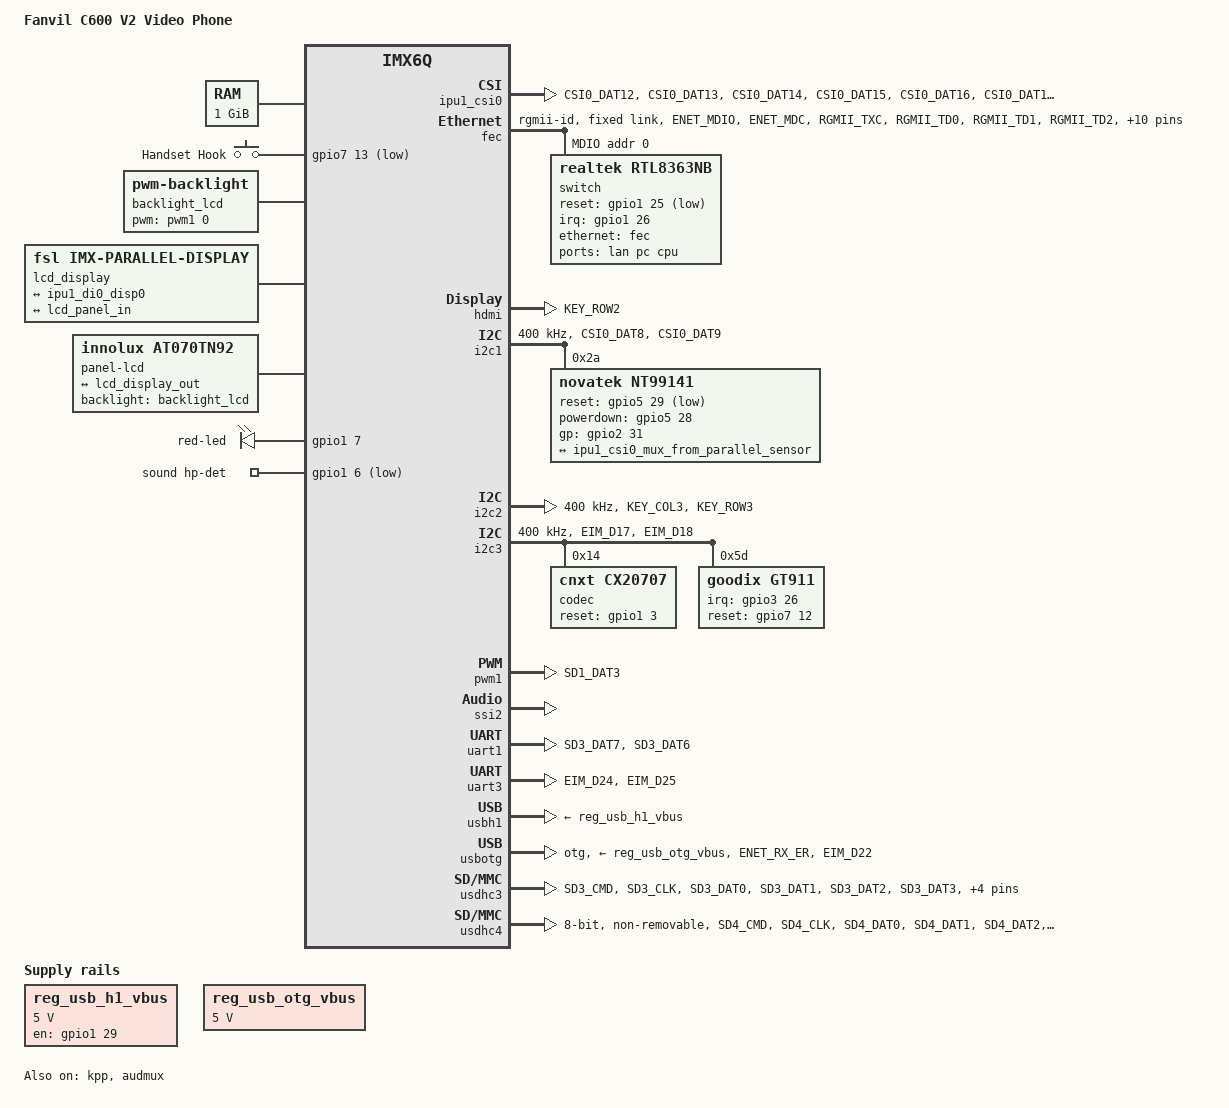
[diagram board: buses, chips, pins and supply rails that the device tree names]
// SPDX-License-Identifier: GPL-2.0+
// Copyright Aleksandrov Stanislav <lightofmysoul@gmail.com>

/dts-v1/;
#include <dt-bindings/gpio/gpio.h>
#include <dt-bindings/sound/fsl-imx-audmux.h>
#include "imx6q.dtsi"

/ {
	model = "Fanvil C600 V2 Video Phone";
	compatible = "fanvil,imx6q-fanvil-c600", "fsl,imx6q";

	chosen {
		stdout-path = &uart1;
	};

	memory@10000000 {
		device_type = "memory";
		reg = <0x10000000 0x40000000>;
	};

	reg_usb_h1_vbus: regulator-usb-h1-vbus {
		compatible = "regulator-fixed";
		pinctrl-names = "default";
		pinctrl-0 = <&pinctrl_usbh1>;
		regulator-name = "usb_h1_vbus";
		regulator-min-microvolt = <5000000>;
		regulator-max-microvolt = <5000000>;
		gpio = <&gpio1 29 GPIO_ACTIVE_HIGH>;
		enable-active-high;
	};

	reg_usb_otg_vbus: regulator-usb-otg-vbus {
		compatible = "regulator-fixed";
		regulator-name = "usb_otg_vbus";
		regulator-min-microvolt = <5000000>;
		regulator-max-microvolt = <5000000>;
		/* I am not sure about this gpio. Need to test this somehow.. */
		// gpio = <&gpio3 22 GPIO_ACTIVE_HIGH>;
		// enable-active-high;
		regulator-always-on;
	};

	gpio-keys {
		compatible = "gpio-keys";
		pinctrl-names = "default";
		pinctrl-0 = <&pinctrl_gpio_keys>;

		handset-hook {
			label = "Handset Hook";
			gpios = <&gpio7 13 GPIO_ACTIVE_LOW>;
			linux,code = <KEY_CLOSE>;
		};
	};

	backlight_lcd: backlight-lcd {
		compatible = "pwm-backlight";
		pwms = <&pwm1 0 5000000>;
		brightness-levels = <0 4 8 16 32 64 128 255>;
		default-brightness-level = <7>;
		status = "okay";
	};

	lcd_display: disp0 {
		compatible = "fsl,imx-parallel-display";
		#address-cells = <1>;
		#size-cells = <0>;
		interface-pix-fmt = "rgb24";
		pinctrl-names = "default";
		pinctrl-0 = <&pinctrl_j15>;
		status = "okay";

		port@0 {
			reg = <0>;

			lcd_display_in: endpoint {
				remote-endpoint = <&ipu1_di0_disp0>;
			};
		};

		port@1 {
			reg = <1>;

			lcd_display_out: endpoint {
				remote-endpoint = <&lcd_panel_in>;
			};
		};
	};

	panel-lcd {
		compatible = "innolux,at070tn92";
		backlight = <&backlight_lcd>;

		port {
			lcd_panel_in: endpoint {
				remote-endpoint = <&lcd_display_out>;
			};
		};
	};

        leds {
                compatible = "gpio-leds";
                pinctrl-names = "default";
                pinctrl-0 = <&pinctrl_gpio_leds>;

                red-led {
			gpios = <&gpio1 7 GPIO_ACTIVE_HIGH>;
			default-state = "off";
		};
	};

	sound {
		compatible = "simple-audio-card";
		simple-audio-card,name = "cx20707";
		simple-audio-card,widgets =
			"Headphone", "Headphones",
			"Speaker", "Speakers",
			"Line",	"Line Out Jack",
			"Microphone", "Mic";

		simple-audio-card,routing =
			"Headphones", "HPOUTL",
			"Headphones", "HPOUTR",
			"Line Out Jack", "LINEOUTL",
			"Line Out Jack", "LINEOUTR",
			"Speakers", "SPKOUTL",
			"Speakers", "SPKOUTR",
			"MICIN", "Mic";

		/* This requires custom firmware */
		simple-audio-card,hp-det-gpio =
			<&gpio1 6 GPIO_ACTIVE_LOW>;

		simple-audio-card,dai-link@0 {
                        bitclock-master = <&dailink0_master>;
                        frame-master = <&dailink0_master>;
                        format = "i2s";

			cpu {
				sound-dai = <&ssi2 0>;
			};
			dailink0_master: codec {
				sound-dai = <&codec 0>;
			};
		};
	};
};

&kpp {
	pinctrl-names = "default";
	pinctrl-0 = <&pinctrl_kpp>;
	linux,keymap = <
		MATRIX_KEY(0, 0, KEY_HOME) /* Home */
		MATRIX_KEY(4, 0, KEY_BACK) /* Back */
		MATRIX_KEY(1, 0, KEY_SOUND)/* Volume */
		MATRIX_KEY(0, 4, KEY_MENU) /* Menu */
		MATRIX_KEY(1, 4, KEY_HP)   /* Headset */
	>;
	status = "okay";
};

&ipu1_csi0_from_ipu1_csi0_mux {
	bus-width = <8>;
	data-shift = <12>; /* Lines 19:12 used */
	hsync-active = <1>;
	vync-active = <1>;
};

&ipu1_csi0_mux_from_parallel_sensor {
	remote-endpoint = <&nt99141_to_ipu1_csi0_mux>;
};

&ipu1_csi0 {
	pinctrl-names = "default";
	pinctrl-0 = <&pinctrl_ipu1_csi0>;
};

&audmux {
	pinctrl-names = "default";
	pinctrl-0 = <&pinctrl_audmux>;
	status = "okay";

	audmux_ssi2 {
		fsl,audmux-port = <MX51_AUDMUX_PORT2_SSI1>;
		fsl,port-config = <
			(IMX_AUDMUX_V2_PTCR_SYN|
			IMX_AUDMUX_V2_PTCR_TFSDIR|
			IMX_AUDMUX_V2_PTCR_TFSEL(2)|
			IMX_AUDMUX_V2_PTCR_TCLKDIR|
			IMX_AUDMUX_V2_PTCR_TCSEL(2))
			IMX_AUDMUX_V2_PDCR_RXDSEL(2)
		>;
        };
	audmux_ssi3 {
		fsl,audmux-port = <MX51_AUDMUX_PORT3>;
		fsl,port-config = <
			IMX_AUDMUX_V2_PTCR_SYN
			IMX_AUDMUX_V2_PDCR_RXDSEL(1)
		>;
	};
};

&fec {
	pinctrl-names = "default";
	pinctrl-0 = <&pinctrl_enet>;
	phy-mode = "rgmii-id";
	status = "okay";

	fixed-link {
		speed = <1000>;
		full-duplex;
	};

	mdio {
		#address-cells = <1>;
		#size-cells = <0>;

                switch@0 {
                        compatible = "realtek,rtl8363nb";
                        #address-cells = <1>;
                        #size-cells = <0>;
			pinctrl-names = "default";
                        pinctrl-0 = <&pinctrl_etnphy_int>;
			reset-gpios = <&gpio1 25 GPIO_ACTIVE_LOW>;
                        interrupt-parent = <&gpio1>;
                        interrupts = <26 GPIO_ACTIVE_HIGH>;
			interrupt-controller;
			reg = <0>;

			ports {
				#address-cells = <1>;
				#size-cells = <0>;

				port@1 {
					reg = <1>;
					label = "lan";
				};

				port@3 {
					reg = <3>;
					label = "pc";
				};

				port@6 {
					reg = <6>;
                                        label = "cpu";
					ethernet = <&fec>;
				};
			};
		};
	};
};

&hdmi {
	pinctrl-names = "default";
	pinctrl-0 = <&pinctrl_hdmicec>;
	ddc-i2c-bus = <&i2c2>;
	status = "okay";
};

&i2c1 {
	clock-frequency = <400000>;
	pinctrl-names = "default";
	pinctrl-0 = <&pinctrl_i2c1>;
	status = "okay";

	nt99141: camera@2a {
		compatible = "novatek,nt99141";
		reg = <0x2a>;
		pinctrl-names = "default";
		pinctrl-0 = <&pinctrl_nt99141>;

		clocks = <&clks IMX6QDL_CLK_CKO1>;
		clock-names = "mclk";
		assigned-clocks = <&clks IMX6QDL_CLK_CKO>,
				  <&clks IMX6QDL_CLK_CKO1_SEL>;
		assigned-clock-parents = <&clks IMX6QDL_CLK_CKO1>,
					 <&clks IMX6QDL_CLK_VIDEO_27M>;

		reset-gpios = <&gpio5 29 GPIO_ACTIVE_LOW>;
		powerdown-gpios = <&gpio5 28 GPIO_ACTIVE_HIGH>;
		/* What is the purpose of this gpio? */
		gp-gpios = <&gpio2 31 GPIO_ACTIVE_HIGH>;
		status = "okay";

		port {
			nt99141_to_ipu1_csi0_mux: endpoint {
				remote-endpoint = <&ipu1_csi0_mux_from_parallel_sensor>;
				bus-width = <8>;
				hsync-active = <1>;
				vsync-active = <1>;
			};
		};
	};
};

&i2c2 {
	clock-frequency = <400000>;
	pinctrl-names = "default";
	pinctrl-0 = <&pinctrl_i2c2>;
	status = "okay";
};

&i2c3 {
	clock-frequency = <400000>;
	pinctrl-names = "default";
	pinctrl-0 = <&pinctrl_i2c3>;
	status = "okay";

	codec: cnxt@14 {
		compatible = "cnxt,cx20707";
		reg = <0x14>;
		#sound-dai-cells = <0>;
		pinctrl-names = "default";
		pinctrl-0 = <&pinctrl_cx20707>;

		/* Is there any clocks at all ? */
		//clocks = <&clks IMX6QDL_CLK_CKO2>;
		reset-gpios = <&gpio1 3 GPIO_ACTIVE_HIGH>;

		/* It is not clear why this gpio is used as interrupt
		 * Maybe custom firmware will notify us about something?
		 *
		 * interrupt-parent = <&gpio3>;
		 * interrupts = <9 GPIO_ACTIVE_LOW>;
		 * irq-gpios = <&gpio3 9 GPIO_ACTIVE_LOW>;
		 */
		status = "okay";
	};

	gt911: touchscreen@5d {
		compatible = "goodix,gt911";
		reg = <0x5d>;

		pinctrl-names = "default";
		pinctrl-0 = <&pinctrl_gt911>;

		interrupt-parent = <&gpio3>;
		interrupts = <26 GPIO_ACTIVE_HIGH>;
		irq-gpios = <&gpio3 26 GPIO_ACTIVE_HIGH>;
		reset-gpios = <&gpio7 12 GPIO_ACTIVE_HIGH>;

		status = "okay";
	};
};

&iomuxc {
	pinctrl-names = "default";
	pinctrl-0 = <&pinctrl_hog>;

	pinctrl_hog: hoggrp {
		fsl,pins = <
			/* Discovered original mappings */
			MX6QDL_PAD_EIM_A24__GPIO5_IO04 0x0b0b1

			MX6QDL_PAD_EIM_A22__GPIO2_IO16 0x0b0b1
			MX6QDL_PAD_EIM_A21__GPIO2_IO17 0x0b0b1
			MX6QDL_PAD_EIM_A20__GPIO2_IO18 0x0b0b1
			MX6QDL_PAD_EIM_A19__GPIO2_IO19 0x0b0b1
			MX6QDL_PAD_EIM_A18__GPIO2_IO20 0x0b0b1
			MX6QDL_PAD_EIM_A17__GPIO2_IO21 0x0b0b1
			MX6QDL_PAD_EIM_A16__GPIO2_IO22 0x0b0b1

			MX6QDL_PAD_EIM_RW__GPIO2_IO26 0x0b0b1
			MX6QDL_PAD_EIM_LBA__GPIO2_IO27 0x0b0b1
			MX6QDL_PAD_EIM_EB0__GPIO2_IO28 0x0b0b1
			MX6QDL_PAD_EIM_EB1__GPIO2_IO29 0x0b0b1

			MX6QDL_PAD_EIM_DA0__GPIO3_IO00 0x0b0b1
			MX6QDL_PAD_EIM_DA1__GPIO3_IO01 0x0b0b1
			MX6QDL_PAD_EIM_DA2__GPIO3_IO02 0x0b0b1
			MX6QDL_PAD_EIM_DA3__GPIO3_IO03 0x0b0b1
			MX6QDL_PAD_EIM_DA4__GPIO3_IO04 0x0b0b1
			MX6QDL_PAD_EIM_DA5__GPIO3_IO05 0x0b0b1
			MX6QDL_PAD_EIM_DA6__GPIO3_IO06 0x0b0b1
			MX6QDL_PAD_EIM_DA7__GPIO3_IO07 0x0b0b1
			MX6QDL_PAD_EIM_DA8__GPIO3_IO08 0x0b0b1

			MX6QDL_PAD_EIM_DA10__GPIO3_IO10 0x0b0b1
			MX6QDL_PAD_EIM_DA11__GPIO3_IO11 0x0b0b1
			MX6QDL_PAD_EIM_DA12__GPIO3_IO12 0x0b0b1
			MX6QDL_PAD_EIM_DA13__GPIO3_IO13 0x0b0b1
			MX6QDL_PAD_EIM_DA14__GPIO3_IO14 0x0b0b1
			MX6QDL_PAD_EIM_DA15__GPIO3_IO15 0x0b0b1

			MX6QDL_PAD_EIM_WAIT__GPIO5_IO00 0x10
		>;
	};

	pinctrl_hdmicec: hdmicecgrp {
		fsl,pins = <
			MX6QDL_PAD_KEY_ROW2__HDMI_TX_CEC_LINE 0x1f8b0
		>;
	};

	pinctrl_audmux: audmuxgrp {
		fsl,pins = <
			MX6QDL_PAD_CSI0_DAT4__AUD3_TXC	0x1b0b0
			MX6QDL_PAD_CSI0_DAT5__AUD3_TXD	0x130b0
			MX6QDL_PAD_CSI0_DAT6__AUD3_TXFS	0x1b0b0
			MX6QDL_PAD_CSI0_DAT7__AUD3_RXD	0x130b0
		>;
	};

	pinctrl_enet: enetgrp {
		fsl,pins = <
			/* MDIO to Realtek Switch */
			MX6QDL_PAD_ENET_MDIO__ENET_MDIO		0x1b0f1
			MX6QDL_PAD_ENET_MDC__ENET_MDC		0x1b0f1

			/* RGMII To Realtek Switch */
			MX6QDL_PAD_RGMII_TXC__RGMII_TXC		0x1b030
			MX6QDL_PAD_RGMII_TD0__RGMII_TD0		0x1b030
			MX6QDL_PAD_RGMII_TD1__RGMII_TD1		0x1b030
			MX6QDL_PAD_RGMII_TD2__RGMII_TD2		0x1b030
			MX6QDL_PAD_RGMII_TD3__RGMII_TD3		0x1b030
			MX6QDL_PAD_RGMII_TX_CTL__RGMII_TX_CTL	0x1b030
			MX6QDL_PAD_ENET_REF_CLK__ENET_TX_CLK	0x1b0f1
			MX6QDL_PAD_RGMII_RXC__RGMII_RXC		0x1b030
			MX6QDL_PAD_RGMII_RD0__RGMII_RD0		0x1b030
			MX6QDL_PAD_RGMII_RD1__RGMII_RD1		0x1b030
			MX6QDL_PAD_RGMII_RD2__RGMII_RD2		0x1b030
			MX6QDL_PAD_RGMII_RD3__RGMII_RD3		0x1b030
			MX6QDL_PAD_RGMII_RX_CTL__RGMII_RX_CTL	0x1b030

			/* 125 MHZ Clock for RGMII */
			MX6QDL_PAD_GPIO_16__ENET_REF_CLK        0x1b0f1
		>;
	};

	pinctrl_etnphy_int: etnphy-intgrp {
		fsl,pins = <
			/* Realtek Switch reset */
			MX6QDL_PAD_ENET_CRS_DV__GPIO1_IO25 0x88

			/* Realtek Switch interrupt */
			MX6QDL_PAD_ENET_RXD1__GPIO1_IO26 0x1b0b0
		>;
	};

	pinctrl_gpio_keys: gpio-keysgrp {
		fsl,pins = <
			/* Phone Hook */
			MX6QDL_PAD_GPIO_18__GPIO7_IO13		0x1b0b0
		>;
	};

	pinctrl_i2c1: i2c1grp {
		fsl,pins = <
			MX6QDL_PAD_CSI0_DAT8__I2C1_SDA          0x4001b8b1
			MX6QDL_PAD_CSI0_DAT9__I2C1_SCL          0x4001b8b1
		>;
	};

	pinctrl_i2c2: i2c2grp {
		fsl,pins = <
			MX6QDL_PAD_KEY_COL3__I2C2_SCL		0x4001b8b1
			MX6QDL_PAD_KEY_ROW3__I2C2_SDA		0x4001b8b1
		>;
	};

	pinctrl_i2c3: i2c3grp {
		fsl,pins = <
			MX6QDL_PAD_EIM_D17__I2C3_SCL		0x4001b8b1
			MX6QDL_PAD_EIM_D18__I2C3_SDA		0x4001b8b1
		>;
	};

	pinctrl_ipu1_csi0: ipu1csi0grp {
		fsl,pins = <
			MX6QDL_PAD_CSI0_DAT12__IPU1_CSI0_DATA12    0x1b0b0
			MX6QDL_PAD_CSI0_DAT13__IPU1_CSI0_DATA13    0x1b0b0
			MX6QDL_PAD_CSI0_DAT14__IPU1_CSI0_DATA14    0x1b0b0
			MX6QDL_PAD_CSI0_DAT15__IPU1_CSI0_DATA15    0x1b0b0
			MX6QDL_PAD_CSI0_DAT16__IPU1_CSI0_DATA16    0x1b0b0
			MX6QDL_PAD_CSI0_DAT17__IPU1_CSI0_DATA17    0x1b0b0
			MX6QDL_PAD_CSI0_DAT18__IPU1_CSI0_DATA18    0x1b0b0
			MX6QDL_PAD_CSI0_DAT19__IPU1_CSI0_DATA19    0x1b0b0
			MX6QDL_PAD_CSI0_PIXCLK__IPU1_CSI0_PIXCLK   0x1b0b0
			MX6QDL_PAD_CSI0_MCLK__IPU1_CSI0_HSYNC      0x1b0b0
			MX6QDL_PAD_CSI0_VSYNC__IPU1_CSI0_VSYNC     0x1b0b0
			MX6QDL_PAD_CSI0_DATA_EN__IPU1_CSI0_DATA_EN 0x1b0b0
		>;
	};

	pinctrl_j15: j15grp {
		fsl,pins = <
			/* Original settings was 0x10, but green dots are displayed */
			MX6QDL_PAD_DI0_DISP_CLK__IPU1_DI0_DISP_CLK 0x100f9
			MX6QDL_PAD_DI0_PIN15__IPU1_DI0_PIN15       0x100f9
			MX6QDL_PAD_DI0_PIN2__IPU1_DI0_PIN02        0x100f9
			MX6QDL_PAD_DI0_PIN3__IPU1_DI0_PIN03        0x100f9
			MX6QDL_PAD_DI0_PIN4__IPU1_DI0_PIN04	   0x1b0b0 //Why? not connected?
			MX6QDL_PAD_DISP0_DAT0__IPU1_DISP0_DATA00   0x100f9
			MX6QDL_PAD_DISP0_DAT1__IPU1_DISP0_DATA01   0x100f9
			MX6QDL_PAD_DISP0_DAT2__IPU1_DISP0_DATA02   0x100f9
			MX6QDL_PAD_DISP0_DAT3__IPU1_DISP0_DATA03   0x100f9
			MX6QDL_PAD_DISP0_DAT4__IPU1_DISP0_DATA04   0x100f9
			MX6QDL_PAD_DISP0_DAT5__IPU1_DISP0_DATA05   0x100f9
			MX6QDL_PAD_DISP0_DAT6__IPU1_DISP0_DATA06   0x100f9
			MX6QDL_PAD_DISP0_DAT7__IPU1_DISP0_DATA07   0x100f9
			MX6QDL_PAD_DISP0_DAT8__IPU1_DISP0_DATA08   0x100f9
			MX6QDL_PAD_DISP0_DAT9__IPU1_DISP0_DATA09   0x100f9
			MX6QDL_PAD_DISP0_DAT10__IPU1_DISP0_DATA10  0x100f9
			MX6QDL_PAD_DISP0_DAT11__IPU1_DISP0_DATA11  0x100f9
			MX6QDL_PAD_DISP0_DAT12__IPU1_DISP0_DATA12  0x100f9
			MX6QDL_PAD_DISP0_DAT13__IPU1_DISP0_DATA13  0x100f9
			MX6QDL_PAD_DISP0_DAT14__IPU1_DISP0_DATA14  0x100f9
			MX6QDL_PAD_DISP0_DAT15__IPU1_DISP0_DATA15  0x100f9
			MX6QDL_PAD_DISP0_DAT16__IPU1_DISP0_DATA16  0x100f9
			MX6QDL_PAD_DISP0_DAT17__IPU1_DISP0_DATA17  0x100f9
			MX6QDL_PAD_DISP0_DAT18__IPU1_DISP0_DATA18  0x100f9
			MX6QDL_PAD_DISP0_DAT19__IPU1_DISP0_DATA19  0x100f9
			MX6QDL_PAD_DISP0_DAT20__IPU1_DISP0_DATA20  0x100f9
			MX6QDL_PAD_DISP0_DAT21__IPU1_DISP0_DATA21  0x100f9
			MX6QDL_PAD_DISP0_DAT22__IPU1_DISP0_DATA22  0x100f9
			MX6QDL_PAD_DISP0_DAT23__IPU1_DISP0_DATA23  0x100f9
		>;
	};

	pinctrl_nt99141: nt99141grp {
		fsl,pins = <
			/* powerdown */
			MX6QDL_PAD_CSI0_DAT10__GPIO5_IO28 0x1b0b0

			/* reset */
			MX6QDL_PAD_CSI0_DAT11__GPIO5_IO29 0x1b0b0

			/* wtfgpio */
			MX6QDL_PAD_EIM_EB3__GPIO2_IO31 0x1b0b0

			/* clock */
			MX6QDL_PAD_GPIO_0__CCM_CLKO1    0x17099
		>;
	};

	pinctrl_pwm1: pwm1grp {
		fsl,pins = <
			MX6QDL_PAD_SD1_DAT3__PWM1_OUT 0x1b0b1
		>;
	};

	pinctrl_uart1: uart1grp {
		fsl,pins = <
			MX6QDL_PAD_SD3_DAT7__UART1_TX_DATA	0x1b0b1
			MX6QDL_PAD_SD3_DAT6__UART1_RX_DATA	0x1b0b1
		>;
	};

	pinctrl_uart3: uart3grp {
		fsl,pins = <
			MX6QDL_PAD_EIM_D24__UART3_TX_DATA	0x1b0b1
			MX6QDL_PAD_EIM_D25__UART3_RX_DATA	0x1b0b1
		>;
	};

	pinctrl_cx20707: cx20707grp {
		fsl,pins =<
			/* codec reset */
			MX6QDL_PAD_GPIO_3__GPIO1_IO03		0x1b0b0

			/* interrupt from cx2070x codec? */
			MX6QDL_PAD_EIM_DA9__GPIO3_IO09		0x0b0b1

			/* Headset Detection, looks like
			 * works only with custom firmware
			 * Triggered by codec itself */
			MX6QDL_PAD_GPIO_6__GPIO1_IO06		0x1b0b0
		>;
	};

	pinctrl_usbh1: usbh1grp {
		fsl,pins = <
			/* power on */
			MX6QDL_PAD_ENET_TXD1__GPIO1_IO29	0x1b0b0
			MX6QDL_PAD_EIM_D30__USB_H1_OC		0x1b0b0
		>;
	};

	pinctrl_usbotg: usbotggrp {
		fsl,pins = <
			MX6QDL_PAD_ENET_RX_ER__USB_OTG_ID 0x1b0b0

			/* Not sure */
			MX6QDL_PAD_EIM_D22__GPIO3_IO22	0x130b0
		>;
	};

	pinctrl_usdhc3: usdhc3grp {
		fsl,pins = <
			MX6QDL_PAD_SD3_CMD__SD3_CMD		0x17059
			MX6QDL_PAD_SD3_CLK__SD3_CLK		0x17059
			MX6QDL_PAD_SD3_DAT0__SD3_DATA0		0x17059
			MX6QDL_PAD_SD3_DAT1__SD3_DATA1		0x17059
			MX6QDL_PAD_SD3_DAT2__SD3_DATA2		0x17059
			MX6QDL_PAD_SD3_DAT3__SD3_DATA3		0x17059
			MX6QDL_PAD_SD3_DAT5__GPIO7_IO00		0x1b0b0	/* CD */
			MX6QDL_PAD_SD3_DAT4__GPIO7_IO01		0x1f0b0	/* WP */
		>;
	};

	pinctrl_usdhc4: usdhc4grp {
		fsl,pins = <
			MX6QDL_PAD_SD4_CMD__SD4_CMD		0x17059
			MX6QDL_PAD_SD4_CLK__SD4_CLK		0x17059
			MX6QDL_PAD_SD4_DAT0__SD4_DATA0		0x17059
			MX6QDL_PAD_SD4_DAT1__SD4_DATA1		0x17059
			MX6QDL_PAD_SD4_DAT2__SD4_DATA2		0x17059
			MX6QDL_PAD_SD4_DAT3__SD4_DATA3		0x17059
			MX6QDL_PAD_SD4_DAT4__SD4_DATA4          0x17059
			MX6QDL_PAD_SD4_DAT5__SD4_DATA5          0x17059
			MX6QDL_PAD_SD4_DAT6__SD4_DATA6          0x17059
			MX6QDL_PAD_SD4_DAT7__SD4_DATA7          0x17059
		>;
	};

	pinctrl_gt911: gt911grp {
		fsl,pins = <
			MX6QDL_PAD_EIM_D26__GPIO3_IO26		0x1b0b0
			MX6QDL_PAD_GPIO_17__GPIO7_IO12		0x1b0b0
		>;
	};

	pinctrl_gpio_leds: ledsgrp {
		fsl,pins = <
			MX6QDL_PAD_GPIO_7__GPIO1_IO07 0x1b0b0
		>;
	};

	pinctrl_kpp: kppgrp {
		fsl,pins = <
			MX6QDL_PAD_KEY_ROW0__KEY_ROW0 0x1b070
			MX6QDL_PAD_KEY_ROW1__KEY_ROW1 0x1b070
			MX6QDL_PAD_KEY_ROW4__KEY_ROW4 0x1b070
			MX6QDL_PAD_KEY_COL0__KEY_COL0 0x1b070
			MX6QDL_PAD_KEY_COL4__KEY_COL4 0x1b070

			/* Why? */
			MX6QDL_PAD_GPIO_1__KEY_ROW5 0x1b070
			MX6QDL_PAD_GPIO_5__KEY_ROW7 0x1b070
		>;
	};
};

&ipu1_di0_disp0 {
	remote-endpoint = <&lcd_display_in>;
};

&ldb {
	status = "disabled";
};

&pcie {
	status = "disabled";
};

&pwm1 {
	pinctrl-names = "default";
	pinctrl-0 = <&pinctrl_pwm1>;
	status = "okay";
};

&ssi2 {
	status = "okay";
};

&uart1 {
	pinctrl-names = "default";
	pinctrl-0 = <&pinctrl_uart1>;
	status = "okay";
};

/* is it realy exist? */
&uart3 {
	pinctrl-names = "default";
	pinctrl-0 = <&pinctrl_uart3>;
	status = "okay";
};

&usbh1 {
	vbus-supply = <&reg_usb_h1_vbus>;
	status = "okay";
};

&usbotg {
	vbus-supply = <&reg_usb_otg_vbus>;
	pinctrl-names = "default";
	pinctrl-0 = <&pinctrl_usbotg>;
	disable-over-current;
	dr_mode = "otg";
	status = "okay";
};

&usdhc3 {
	/* MicroSD Card slot */
	pinctrl-names = "default";
	pinctrl-0 = <&pinctrl_usdhc3>;
	cd-gpios = <&gpio7 0 GPIO_ACTIVE_LOW>;
	wp-gpios = <&gpio7 1 GPIO_ACTIVE_HIGH>;
	no-1-8-v;
	status = "okay";
};

&usdhc4 {
	/* Internal 4G emmc */
	pinctrl-names = "default";
	pinctrl-0 = <&pinctrl_usdhc4>;
	bus-width = <8>;
	non-removable;
	no-1-8-v;
	status = "okay";
};
